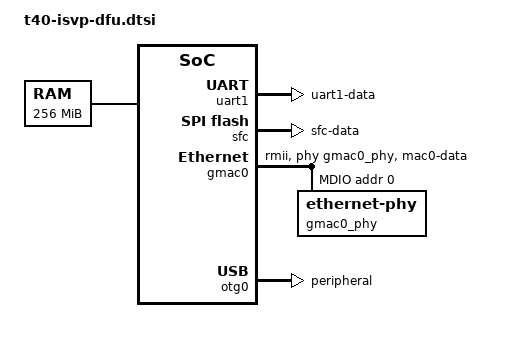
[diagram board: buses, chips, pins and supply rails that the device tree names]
// SPDX-License-Identifier: GPL-2.0+
/*
 * Ingenic ISVP-T40 USB-boot DFU-loader board body, shared by every
 * T40 SKU. Trimmed sibling of t40-isvp.dtsi (no audio/MMC; OTG in
 * gadget mode for DFU/g_dnl). The per-SKU leaf .dts sets
 * ingenic,variant on &ddr and adds its flash@0 node on &sfc (the DFU
 * loader's SPL returns to the mask ROM, so the boot-media bootph tags
 * differ from the cold-boot DT and are carried by the leaf).
 */

#include <dt-bindings/clock/ingenic,t40-cgu.h>

/ {
	compatible = "ingenic,t40";
	#address-cells = <1>;
	#size-cells = <1>;

	aliases {
		serial1 = &uart1;
	};

	chosen {
		stdout-path = "serial1:115200n8";
	};

	memory@0 {
		device_type = "memory";
		reg = <0x0 0x10000000>;
	};

	ddr: memory-controller@b34f0000 {
		compatible = "ingenic,t40-ddr-innophy";
		reg = <0xb34f0000 0x3000>;
		/* ingenic,variant is set by the per-SKU leaf .dts. */
		bootph-all;
	};

	cgu: clock-controller@b0000000 {
		compatible = "ingenic,t40-cgu";
		reg = <0xb0000000 0x1000>;
		#clock-cells = <1>;
		bootph-all;
	};

	pinctrl: pinctrl@b0010000 {
		compatible = "ingenic,t40-pinctrl";
		reg = <0xb0010000 0x8000>;
		#address-cells = <1>;
		#size-cells = <0>;
		bootph-all;

		gpa: gpio@0 {
			compatible = "ingenic,t40-gpio";
			reg = <0>;
			gpio-controller;
			#gpio-cells = <2>;
			bootph-all;
		};

		gpb: gpio@1 {
			compatible = "ingenic,t40-gpio";
			reg = <1>;
			gpio-controller;
			#gpio-cells = <2>;
			bootph-all;
		};

		gpc: gpio@2 {
			compatible = "ingenic,t40-gpio";
			reg = <2>;
			gpio-controller;
			#gpio-cells = <2>;
			bootph-all;
		};

		gpd: gpio@3 {
			compatible = "ingenic,t40-gpio";
			reg = <3>;
			gpio-controller;
			#gpio-cells = <2>;
			bootph-all;
		};

		gpe: gpio@4 {
			compatible = "ingenic,t40-gpio";
			reg = <4>;
			gpio-controller;
			#gpio-cells = <2>;
			bootph-all;
		};

		pins_uart1: uart1 {
			function = "uart1";
			groups = "uart1-data";
			bootph-all;
		};

		pins_sfc: sfc {
			function = "sfc";
			groups = "sfc-data";
		};

		pins_mac0: mac0 {
			function = "mac0";
			groups = "mac0-data";
		};
	};

	uart1: serial@b0031000 {
		compatible = "ingenic,jz4780-uart", "ns16550a";
		reg = <0xb0031000 0x100>;
		reg-shift = <2>;
		clock-frequency = <24000000>;
		pinctrl-names = "default";
		pinctrl-0 = <&pins_uart1>;
		bootph-all;
		status = "okay";
	};

	/*
	 * TCU (timer/counter unit) container mirroring T31's binding. U-Boot
	 * only needs the watchdog child for sysreset; the WDT self-clocks
	 * from the 32 kHz RTC so the TCU clock provider is not required.
	 */
	tcu: timer@b0002000 {
		compatible = "ingenic,t40-tcu", "ingenic,jz4760-tcu",
			     "simple-mfd";
		reg = <0xb0002000 0x1000>;
		#address-cells = <1>;
		#size-cells = <1>;
		ranges = <0x0 0xb0002000 0x1000>;

		watchdog: watchdog@0 {
			compatible = "ingenic,t40-watchdog",
				     "ingenic,jz4780-watchdog";
			reg = <0x0 0x10>;
		};
	};

	sfc: spi@b3440000 {
		compatible = "ingenic,t40-sfc";
		reg = <0xb3440000 0x10000>;
		#address-cells = <1>;
		#size-cells = <0>;
		clocks = <&cgu T40_CLK_SFC>;
		pinctrl-names = "default";
		pinctrl-0 = <&pins_sfc>;
		spi-max-frequency = <50000000>;
		status = "okay";

		/* flash@0 comes from the per-SKU leaf .dts. */
	};

	gmac0: ethernet@b34b0000 {
		compatible = "ingenic,t40-gmac";
		reg = <0xb34b0000 0x2000>;
		clocks = <&cgu T40_CLK_GMAC0>;
		phy-mode = "rmii";
		phy-handle = <&gmac0_phy>;
		ingenic,mode-reg = <0xb00000e8>;
		max-speed = <100>;
		macphy-rate = <50000000>;
		pinctrl-names = "default";
		pinctrl-0 = <&pins_mac0>;
		status = "okay";

		mdio {
			#address-cells = <1>;
			#size-cells = <0>;

			gmac0_phy: ethernet-phy@0 {
				reg = <0>;
			};
		};
	};

	/*
	 * T40 has a single DWC2 USB OTG at 0x13500000 (A1 has three).
	 */
	otg0: usb@b3500000 {
		compatible = "snps,dwc2";
		reg = <0xb3500000 0x40000>;
		clocks = <&cgu T40_CLK_OTG0>;
		dr_mode = "peripheral";		/* gadget bind for DFU/g_dnl */
		status = "okay";
	};
};
